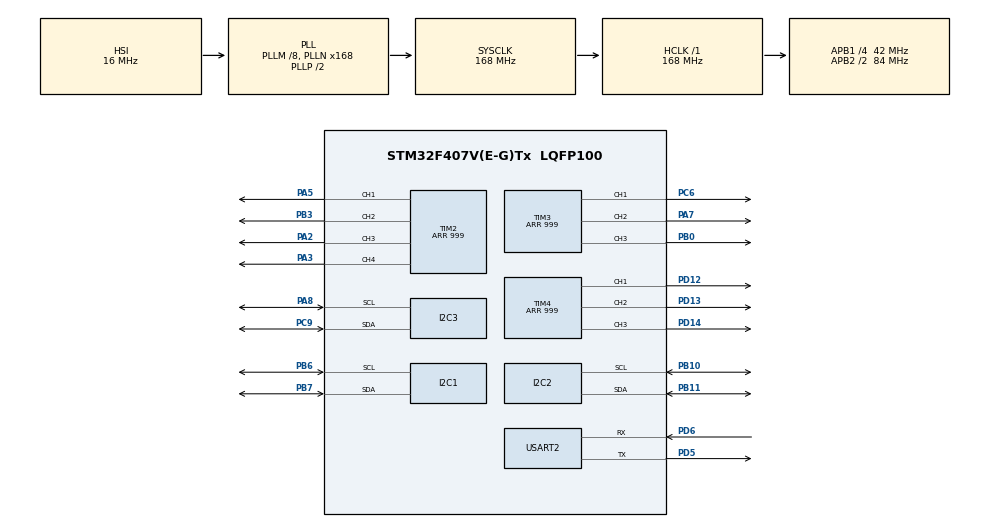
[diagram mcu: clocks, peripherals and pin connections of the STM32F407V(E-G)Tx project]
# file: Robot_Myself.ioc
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Dma.Request0=USART2_RX
Dma.USART2_RX.0.Direction=DMA_PERIPH_TO_MEMORY
Dma.USART2_RX.0.FIFOMode=DMA_FIFOMODE_DISABLE
Dma.USART2_RX.0.Instance=DMA1_Stream5
Dma.USART2_RX.0.MemDataAlignment=DMA_MDATAALIGN_BYTE
Dma.USART2_RX.0.MemInc=DMA_MINC_ENABLE
Dma.USART2_RX.0.Mode=DMA_CIRCULAR
Dma.USART2_RX.0.PeriphDataAlignment=DMA_PDATAALIGN_BYTE
Dma.USART2_RX.0.PeriphInc=DMA_PINC_DISABLE
Dma.USART2_RX.0.Priority=DMA_PRIORITY_LOW
FREERTOS.Queues01=Give_Data,16,uint16_t,0,Dynamic,NULL,NULL
FREERTOS.Tasks01=defaultTask,24,128,StartDefaultTask,Default,NULL,Dynamic,NULL,NULL;Read_Allead,8,256,StartTask02,Default,NULL,Dynamic,NULL,NULL;Balance,8,256,StartTask03,Default,NULL,Dynamic,NULL,NULL;Run_By_Cmd,8,512,StartTask04,Default,NULL,Dynamic,NULL,NULL
Mcu.Family=STM32F4
Mcu.Name=STM32F407V(E-G)Tx
Mcu.Package=LQFP100
NVIC.DMA1_Stream5_IRQn=true\:5\:0\:false\:false\:true\:true\:false\:true\:true
NVIC.PriorityGroup=NVIC_PRIORITYGROUP_4
NVIC.TIM1_UP_TIM10_IRQn=true\:15\:0\:false\:false\:true\:false\:false\:true\:true
NVIC.TimeBase=TIM1_UP_TIM10_IRQn
NVIC.TimeBaseIP=TIM1
PA13.Mode=Serial_Wire
PA13.Signal=SYS_JTMS-SWDIO
PA14.Mode=Serial_Wire
PA14.Signal=SYS_JTCK-SWCLK
PA2.Signal=S_TIM2_CH3
PA3.Signal=S_TIM2_CH4
PA5.Signal=S_TIM2_CH1_ETR
PA7.Signal=S_TIM3_CH2
PA8.Mode=I2C
PA8.Signal=I2C3_SCL
PB0.Signal=S_TIM3_CH3
PB10.Mode=I2C
PB10.Signal=I2C2_SCL
PB11.Mode=I2C
PB11.Signal=I2C2_SDA
PB3.Signal=S_TIM2_CH2
PB6.Mode=I2C
PB6.Signal=I2C1_SCL
PB7.Mode=I2C
PB7.Signal=I2C1_SDA
PC6.Signal=S_TIM3_CH1
PC9.Mode=I2C
PC9.Signal=I2C3_SDA
PD12.Signal=S_TIM4_CH1
PD13.Signal=S_TIM4_CH2
PD14.Signal=S_TIM4_CH3
PD5.Mode=Asynchronous
PD5.Signal=USART2_TX
PD6.Mode=Asynchronous
PD6.Signal=USART2_RX
PH0-OSC_IN.Mode=HSE-External-Oscillator
PH0-OSC_IN.Signal=RCC_OSC_IN
PH1-OSC_OUT.Mode=HSE-External-Oscillator
PH1-OSC_OUT.Signal=RCC_OSC_OUT
ProjectManager.HeapSize=0x200
ProjectManager.StackSize=0x400
ProjectManager.TargetToolchain=CMake
RCC.48MHZClocksFreq_Value=84000000
RCC.AHBFreq_Value=168000000
RCC.APB1CLKDivider=RCC_HCLK_DIV4
RCC.APB1Freq_Value=42000000
RCC.APB1TimFreq_Value=84000000
RCC.APB2CLKDivider=RCC_HCLK_DIV2
RCC.APB2Freq_Value=84000000
RCC.APB2TimFreq_Value=168000000
RCC.CortexFreq_Value=168000000
RCC.HCLKFreq_Value=168000000
RCC.HSE_VALUE=25000000
RCC.HSI_VALUE=16000000
RCC.LSE_VALUE=32768
RCC.PLLM=8
RCC.PLLN=168
RCC.SYSCLKFreq_VALUE=168000000
RCC.SYSCLKSource=RCC_SYSCLKSOURCE_PLLCLK
RCC.VCOOutputFreq_Value=336000000
SH.S_TIM2_CH1_ETR.0=TIM2_CH1,PWM Generation1 CH1
SH.S_TIM2_CH2.0=TIM2_CH2,PWM Generation2 CH2
SH.S_TIM2_CH3.0=TIM2_CH3,PWM Generation3 CH3
SH.S_TIM2_CH4.0=TIM2_CH4,PWM Generation4 CH4
SH.S_TIM3_CH1.0=TIM3_CH1,PWM Generation1 CH1
SH.S_TIM3_CH2.0=TIM3_CH2,PWM Generation2 CH2
SH.S_TIM3_CH3.0=TIM3_CH3,PWM Generation3 CH3
SH.S_TIM4_CH1.0=TIM4_CH1,PWM Generation1 CH1
SH.S_TIM4_CH2.0=TIM4_CH2,PWM Generation2 CH2
SH.S_TIM4_CH3.0=TIM4_CH3,PWM Generation3 CH3
TIM2.Channel-PWM\ Generation1\ CH1=TIM_CHANNEL_1
TIM2.Channel-PWM\ Generation2\ CH2=TIM_CHANNEL_2
TIM2.Channel-PWM\ Generation3\ CH3=TIM_CHANNEL_3
TIM2.Channel-PWM\ Generation4\ CH4=TIM_CHANNEL_4
TIM2.Period=999
TIM3.Channel-PWM\ Generation1\ CH1=TIM_CHANNEL_1
TIM3.Channel-PWM\ Generation2\ CH2=TIM_CHANNEL_2
TIM3.Channel-PWM\ Generation3\ CH3=TIM_CHANNEL_3
TIM3.Period=999
TIM4.Channel-PWM\ Generation1\ CH1=TIM_CHANNEL_1
TIM4.Channel-PWM\ Generation2\ CH2=TIM_CHANNEL_2
TIM4.Channel-PWM\ Generation3\ CH3=TIM_CHANNEL_3
TIM4.Period=999
USART2.VirtualMode=VM_ASYNC
VP_FREERTOS_VS_CMSIS_V2.Mode=CMSIS_V2
VP_SYS_VS_tim1.Mode=TIM1
VP_TIM2_VS_ClockSourceITR.Mode=TriggerSource_ITR0
VP_TIM3_VS_ClockSourceITR.Mode=TriggerSource_ITR0
VP_TIM4_VS_ClockSourceITR.Mode=TriggerSource_ITR0
board=custom

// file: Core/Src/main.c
/* USER CODE BEGIN Header */
/**
  ******************************************************************************
  * @file           : main.c
  * @brief          : Main program body
  ******************************************************************************
  * @attention
  *
  * Copyright (c) 2026 STMicroelectronics.
  * All rights reserved.
  *
  * This software is licensed under terms that can be found in the LICENSE file
  * in the root directory of this software component.
  * If no LICENSE file comes with this software, it is provided AS-IS.
  *
  ******************************************************************************
  */
/* USER CODE END Header */
#include "main.h"
#include "cmsis_os.h"
#include "dma.h"
#include "i2c.h"
#include "tim.h"
#include "usart.h"
#include "gpio.h"

/* USER CODE BEGIN Includes */

#include "brushless_motor.h"

/* USER CODE END Includes */

void SystemClock_Config(void);
void MX_FREERTOS_Init(void);

int main(void)
{

  /* MCU Configuration--------------------------------------------------------*/

  /* Reset of all peripherals, Initializes the Flash interface and the Systick. */
  HAL_Init();

  /* Configure the system clock */
  SystemClock_Config();

  /* Initialize all configured peripherals */
  MX_GPIO_Init();
  MX_DMA_Init();
  MX_I2C1_Init();
  MX_I2C2_Init();
  MX_I2C3_Init();
  MX_TIM3_Init();
  MX_TIM4_Init();
  MX_USART2_UART_Init();
  MX_TIM2_Init();
  /* USER CODE BEGIN 2 */

  BLDC_PrintI2CDeviceInfo();

  /* USER CODE END 2 */

  /* Init scheduler */
  osKernelInitialize();  /* Call init function for freertos objects (in cmsis_os2.c) */
  MX_FREERTOS_Init();

  /* Start scheduler */
  osKernelStart();

  /* We should never get here as control is now taken by the scheduler */

  /* Infinite loop */
  while (1)
  {

  }
}

void SystemClock_Config(void)
{
  RCC_OscInitTypeDef RCC_OscInitStruct = {0};
  RCC_ClkInitTypeDef RCC_ClkInitStruct = {0};

  /** Configure the main internal regulator output voltage
  */
  __HAL_RCC_PWR_CLK_ENABLE();
  __HAL_PWR_VOLTAGESCALING_CONFIG(PWR_REGULATOR_VOLTAGE_SCALE1);

  /** Initializes the RCC Oscillators according to the specified parameters
  * in the RCC_OscInitTypeDef structure.
  */
  RCC_OscInitStruct.OscillatorType = RCC_OSCILLATORTYPE_HSI;
  RCC_OscInitStruct.HSIState = RCC_HSI_ON;
  RCC_OscInitStruct.HSICalibrationValue = RCC_HSICALIBRATION_DEFAULT;
  RCC_OscInitStruct.PLL.PLLState = RCC_PLL_ON;
  RCC_OscInitStruct.PLL.PLLSource = RCC_PLLSOURCE_HSI;
  RCC_OscInitStruct.PLL.PLLM = 8;
  RCC_OscInitStruct.PLL.PLLN = 168;
  RCC_OscInitStruct.PLL.PLLP = RCC_PLLP_DIV2;
  RCC_OscInitStruct.PLL.PLLQ = 4;
  if (HAL_RCC_OscConfig(&RCC_OscInitStruct) != HAL_OK)
  {
    Error_Handler();
  }

  /** Initializes the CPU, AHB and APB buses clocks
  */
  RCC_ClkInitStruct.ClockType = RCC_CLOCKTYPE_HCLK|RCC_CLOCKTYPE_SYSCLK
                              |RCC_CLOCKTYPE_PCLK1|RCC_CLOCKTYPE_PCLK2;
  RCC_ClkInitStruct.SYSCLKSource = RCC_SYSCLKSOURCE_PLLCLK;
  RCC_ClkInitStruct.AHBCLKDivider = RCC_SYSCLK_DIV1;
  RCC_ClkInitStruct.APB1CLKDivider = RCC_HCLK_DIV4;
  RCC_ClkInitStruct.APB2CLKDivider = RCC_HCLK_DIV2;

  if (HAL_RCC_ClockConfig(&RCC_ClkInitStruct, FLASH_LATENCY_5) != HAL_OK)
  {
    Error_Handler();
  }
}

void HAL_TIM_PeriodElapsedCallback(TIM_HandleTypeDef *htim)
{
  if (htim->Instance == TIM1)
  {
    HAL_IncTick();
  }
}

void Error_Handler(void)
{
  __disable_irq();
  while (1)
  {
  }
}

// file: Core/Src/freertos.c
/* USER CODE BEGIN Header */
/**
  ******************************************************************************
  * File Name          : freertos.c
  * Description        : Code for freertos applications
  ******************************************************************************
  * @attention
  *
  * Copyright (c) 2026 STMicroelectronics.
  * All rights reserved.
  *
  * This software is licensed under terms that can be found in the LICENSE file
  * in the root directory of this software component.
  * If no LICENSE file comes with this software, it is provided AS-IS.
  *
  ******************************************************************************
  */
/* USER CODE END Header */

#include "FreeRTOS.h"
#include "task.h"
#include "main.h"
#include "cmsis_os.h"

/* USER CODE BEGIN Includes */

#include "brushless_motor.h"
#include "core.h"
#include "i2c.h"
#include "steering_engine.h"
#include "usart.h"

#include <stdbool.h>
#include <ctype.h>
#include <stdint.h>
#include <stdio.h>
#include <stdlib.h>
#include <string.h>

/* USER CODE END Includes */

/* USER CODE BEGIN PD */

#define BLDC_CMD_DEFAULT_RPS            (0.0f)
#define BLDC_CMD_MAX_ABS_RPS            (8.0f)
#define BLDC_CMD_SLEW_RPS_PER_SEC       (4.0f)
#define BLDC_CMD_INPUT_MIN_PERCENT      (0)
#define BLDC_CMD_INPUT_MAX_PERCENT      (100)

/* USER CODE END PD */

/* USER CODE BEGIN Variables */

static float g_speed_cmd_rps = BLDC_CMD_DEFAULT_RPS;
static int8_t g_motor_dir_sign = 1;
static uint8_t g_uart2_rx_dma_buf[64];
static uint8_t g_uart2_rx_dma_read_idx = 0U;
volatile char g_stack_overflow_task[16] = {0};

typedef enum
{
  CONTROL_MODE_BALANCE = 0,
  CONTROL_MODE_TEST = 1
} ControlMode;

static volatile ControlMode g_control_mode = CONTROL_MODE_BALANCE;

/* USER CODE END Variables */
/* Definitions for defaultTask */
osThreadId_t defaultTaskHandle;
const osThreadAttr_t defaultTask_attributes = {
  .name = "defaultTask",
  .stack_size = 128 * 4,
  .priority = (osPriority_t) osPriorityNormal,
};
/* Definitions for Read_Allead */
osThreadId_t Read_AlleadHandle;
const osThreadAttr_t Read_Allead_attributes = {
  .name = "Read_Allead",
  .stack_size = 768 * 4,
  .priority = (osPriority_t) osPriorityLow,
};
/* Definitions for Balance */
osThreadId_t BalanceHandle;
const osThreadAttr_t Balance_attributes = {
  .name = "Balance",
  .stack_size = 384 * 4,
  .priority = (osPriority_t) osPriorityLow,
};
/* Definitions for Run_By_Cmd */
osThreadId_t Run_By_CmdHandle;
const osThreadAttr_t Run_By_Cmd_attributes = {
  .name = "Run_By_Cmd",
  .stack_size = 512 * 4,
  .priority = (osPriority_t) osPriorityLow,
};
/* Definitions for Give_Data */
osMessageQueueId_t Give_DataHandle;
const osMessageQueueAttr_t Give_Data_attributes = {
  .name = "Give_Data"
};
/* Definitions for Steering_Cmd */
osMessageQueueId_t Steering_CmdHandle;
const osMessageQueueAttr_t Steering_Cmd_attributes = {
  .name = "Steering_Cmd"
};

/* USER CODE BEGIN FunctionPrototypes */

static bool ParsePercentCommand(const char *line, int *percent_value);
static bool ParseDirectionCommand(const char *line, int8_t *dir_sign);
static bool ParseDirectionSpeedCommand(const char *line, int8_t *dir_sign, int *percent_value);
static bool ParseSteeringCommand(const char *line, int *percent_value);
static bool ParsePitchOffsetCommand(const char *line, float *offset_rad);
static bool ParsePidCommand(const char *line, float *kp, float *ki, float *kd);
static bool ParsePitchQueryCommand(const char *line);
static bool ParseControlModeCommand(const char *line, ControlMode *mode);
static void ProcessUartCommandByte(uint8_t ch);
static bool PollUartSpeedCommandDma(void);

/* USER CODE END FunctionPrototypes */

void StartDefaultTask(void *argument);
void StartTask02(void *argument);
void StartTask03(void *argument);
void StartTask04(void *argument);

void MX_FREERTOS_Init(void); /* (MISRA C 2004 rule 8.1) */

void MX_FREERTOS_Init(void) {

  /* Create the queue(s) */
  /* creation of Give_Data */
  Give_DataHandle = osMessageQueueNew (16, sizeof(uint16_t), &Give_Data_attributes);

  /* creation of Steering_Cmd */
  Steering_CmdHandle = osMessageQueueNew (16, sizeof(uint8_t), &Steering_Cmd_attributes);

  /* Create the thread(s) */
  /* creation of defaultTask */
  defaultTaskHandle = osThreadNew(StartDefaultTask, NULL, &defaultTask_attributes);

  /* creation of Read_Allead */
  Read_AlleadHandle = osThreadNew(StartTask02, NULL, &Read_Allead_attributes);

  /* creation of Balance */
  BalanceHandle = osThreadNew(StartTask03, NULL, &Balance_attributes);

  /* creation of Run_By_Cmd */
  Run_By_CmdHandle = osThreadNew(StartTask04, NULL, &Run_By_Cmd_attributes);

}

void StartDefaultTask(void *argument)
{
  /* USER CODE BEGIN StartDefaultTask */
  (void)argument;

  /* Infinite loop */
  for(;;)
  {
    osDelay(1);
  }
  /* USER CODE END StartDefaultTask */
}

void StartTask02(void *argument)
{
  /* USER CODE BEGIN StartTask02 */
  uint16_t speed_cmd_raw = 0U;
  uint32_t print_div = 0U;
  uint32_t i2c1_ok = 0U;
  uint32_t i2c2_ok = 0U;
  uint32_t i2c3_ok = 0U;

  (void)argument;

  g_uart2_rx_dma_read_idx = 0U;
  if (HAL_UART_Receive_DMA(&huart2, g_uart2_rx_dma_buf, sizeof(g_uart2_rx_dma_buf)) != HAL_OK)
  {
    printf("[CMD] UART DMA start failed\r\n");
  }

  printf("[TASK02] UART+I2C loop online\r\n");
  printf("[CMD] send 0~100 to set motor1 speed percent\r\n");
  printf("[CMD] send fwd/rev or fwd 50/rev 50 to switch direction\r\n");
  printf("[CMD] send steering 0~100 to set 4-servo mirrored output\r\n");
  printf("[CMD] send PZ <rad> to set pitch zero\r\n");
  printf("[CMD] send PID <kp> <ki> <kd> to tune balance PID\r\n");
  printf("[CMD] send PID? to query current PID, pitch offset and pitch\r\n");
  printf("[CMD] send BAL or TEST to switch control mode\r\n");

  i2c1_ok = (HAL_I2C_IsDeviceReady(&hi2c1, (0x36U << 1), 2U, 10U) == HAL_OK) ? 1U : 0U;
  i2c2_ok = (HAL_I2C_IsDeviceReady(&hi2c2, (0x36U << 1), 2U, 10U) == HAL_OK) ? 1U : 0U;
  i2c3_ok = ((HAL_I2C_IsDeviceReady(&hi2c3, (0x68U << 1), 2U, 10U) == HAL_OK) ||
             (HAL_I2C_IsDeviceReady(&hi2c3, (0x69U << 1), 2U, 10U) == HAL_OK)) ? 1U : 0U;
  printf("[I2C] link i2c1=%lu i2c2=%lu i2c3=%lu\r\n",
         (unsigned long)i2c1_ok,
         (unsigned long)i2c2_ok,
         (unsigned long)i2c3_ok);

  Core_ControlInit();

  /* Infinite loop */
  for(;;)
  {
    (void)PollUartSpeedCommandDma();

    if (osMessageQueueGet(Give_DataHandle, &speed_cmd_raw, NULL, 0U) == osOK)
    {
      float cmd_rps = ((float)(int16_t)speed_cmd_raw) / 100.0f;

      if (cmd_rps > BLDC_CMD_MAX_ABS_RPS)
      {
        cmd_rps = BLDC_CMD_MAX_ABS_RPS;
      }
      else if (cmd_rps < -BLDC_CMD_MAX_ABS_RPS)
      {
        cmd_rps = -BLDC_CMD_MAX_ABS_RPS;
      }

      g_speed_cmd_rps = cmd_rps * (float)g_motor_dir_sign;
    }

    /* task02: all I2C-related reads/control execution. */
    Core_ImuUpdate1ms();

    if (g_control_mode == CONTROL_MODE_TEST)
    {
      BLDC_SetTargetSpeedRps(g_speed_cmd_rps);
      BLDC_SetTargetSpeed2Rps(g_speed_cmd_rps);
    }

    BLDC_ControlStep_1ms();

    if (++print_div >= 20U)
    {
      int32_t target_mrps;
      int32_t target_m1_mrps;
      int32_t speed_m1_mrps;
      int32_t speed_m2_mrps;
      int32_t vq_milli;
      uint32_t raw_ok;
      uint16_t raw_m1;
      uint32_t assist_on;
      int32_t pitch_cdeg;
      const char *mode_text;

      print_div = 0U;
      target_mrps = (int32_t)(g_speed_cmd_rps * 1000.0f);
      target_m1_mrps = (int32_t)(BLDC_GetTargetSpeedRps() * 1000.0f);
      speed_m1_mrps = (int32_t)(BLDC_GetMeasuredSpeedRps() * 1000.0f);
      speed_m2_mrps = (int32_t)(BLDC_GetMeasuredSpeed2Rps() * 1000.0f);
      vq_milli = (int32_t)(BLDC_GetM1AppliedVq() * 1000.0f);
      raw_ok = BLDC_GetLastRawAngleM1Valid() ? 1U : 0U;
      raw_m1 = BLDC_GetLastRawAngleM1();
      assist_on = BLDC_IsM1AssistModeActive() ? 1U : 0U;
      pitch_cdeg = (int32_t)(Core_GetPitchDeg() * 100.0f);
      mode_text = (g_control_mode == CONTROL_MODE_BALANCE) ? "BAL" : "TEST";

      printf("[RUN] m=%s cmd=%ld t1=%ld s1=%ld s2=%ld raw_ok=%lu raw=%u as=%lu vq=%ld p=%ld.%02ld\r\n",
         mode_text,
         (long)target_mrps,
         (long)target_m1_mrps,
         (long)speed_m1_mrps,
         (long)speed_m2_mrps,
         (unsigned long)raw_ok,
         (unsigned int)raw_m1,
         (unsigned long)assist_on,
         (long)vq_milli,
         (long)(pitch_cdeg / 100),
         (long)labs((long)(pitch_cdeg % 100)));
    }

    osDelay(1);
  }
  /* USER CODE END StartTask02 */
}

void StartTask03(void *argument)
{
  /* USER CODE BEGIN StartTask03 */
  (void)argument;

  printf("[TASK03] Balance logic loop online\r\n");

  /* Infinite loop */
  for(;;)
  {
    if (g_control_mode == CONTROL_MODE_BALANCE)
    {
      Core_BalanceStep1ms();
    }
    osDelay(1);
  }
  /* USER CODE END StartTask03 */
}

void StartTask04(void *argument)
{
  /* USER CODE BEGIN StartTask04 */
  uint8_t steering_percent = 50U;

  (void)argument;

  SteeringEngine_Init();
  printf("[TASK04] Steering loop online\r\n");

  /* Infinite loop */
  for(;;)
  {
    if (osMessageQueueGet(Steering_CmdHandle, &steering_percent, NULL, 10U) == osOK)
    {
      if (SteeringEngine_SetSteeringPercent(steering_percent))
      {
        printf("[CMD] ACK steering percent=%u\r\n", (unsigned int)steering_percent);
      }
      else
      {
        printf("[CMD] ACK steering set failed percent=%u\r\n", (unsigned int)steering_percent);
      }
    }
  }
  /* USER CODE END StartTask04 */
}

/* USER CODE BEGIN Application */

static bool ParsePercentCommand(const char *line, int *percent_value)
{
  char *end_ptr = NULL;
  long parsed;

  if ((line == NULL) || (percent_value == NULL))
  {
    return false;
  }

  parsed = strtol(line, &end_ptr, 10);
  if ((end_ptr == line) || (*end_ptr != '\0'))
  {
    return false;
  }
  if ((parsed < BLDC_CMD_INPUT_MIN_PERCENT) || (parsed > BLDC_CMD_INPUT_MAX_PERCENT))
  {
    return false;
  }

  *percent_value = (int)parsed;
  return true;
}

static bool ParseDirectionCommand(const char *line, int8_t *dir_sign)
{
  char lower_line[16] = {0};
  uint32_t i;

  if ((line == NULL) || (dir_sign == NULL))
  {
    return false;
  }

  for (i = 0U; (i < (sizeof(lower_line) - 1U)) && (line[i] != '\0'); i++)
  {
    lower_line[i] = (char)tolower((unsigned char)line[i]);
  }
  lower_line[i] = '\0';

  if (strcmp(lower_line, "fwd") == 0)
  {
    *dir_sign = 1;
    return true;
  }
  if (strcmp(lower_line, "rev") == 0)
  {
    *dir_sign = -1;
    return true;
  }
  return false;
}

static bool ParseDirectionSpeedCommand(const char *line, int8_t *dir_sign, int *percent_value)
{
  char lower_line[16] = {0};
  char dir_token[8] = {0};
  int percent = 0;
  int matched;
  uint32_t i;

  if ((line == NULL) || (dir_sign == NULL) || (percent_value == NULL))
  {
    return false;
  }

  for (i = 0U; (i < (sizeof(lower_line) - 1U)) && (line[i] != '\0'); i++)
  {
    lower_line[i] = (char)tolower((unsigned char)line[i]);
  }
  lower_line[i] = '\0';

  matched = sscanf(lower_line, "%7s %d", dir_token, &percent);
  if (matched != 2)
  {
    return false;
  }

  if (strcmp(dir_token, "fwd") == 0)
  {
    *dir_sign = 1;
  }
  else if (strcmp(dir_token, "rev") == 0)
  {
    *dir_sign = -1;
  }
  else
  {
    return false;
  }

  if ((percent < BLDC_CMD_INPUT_MIN_PERCENT) || (percent > BLDC_CMD_INPUT_MAX_PERCENT))
  {
    return false;
  }

  *percent_value = percent;
  return true;
}

static bool ParseSteeringCommand(const char *line, int *percent_value)
{
  char cmd[9] = {0};
  int percent = 0;
  int matched;

  if ((line == NULL) || (percent_value == NULL))
  {
    return false;
  }

  matched = sscanf(line, "%8s %d", cmd, &percent);
  if (matched != 2)
  {
    return false;
  }

  for (uint32_t i = 0U; (i < (sizeof(cmd) - 1U)) && (cmd[i] != '\0'); i++)
  {
    cmd[i] = (char)tolower((unsigned char)cmd[i]);
  }

  if (strcmp(cmd, "steering") != 0)
  {
    return false;
  }

  if ((percent < BLDC_CMD_INPUT_MIN_PERCENT) || (percent > BLDC_CMD_INPUT_MAX_PERCENT))
  {
    return false;
  }

  *percent_value = percent;

  return true;
}

static bool ParsePitchOffsetCommand(const char *line, float *offset_rad)
{
  char cmd[4] = {0};
  float value = 0.0f;
  int matched;

  if ((line == NULL) || (offset_rad == NULL))
  {
    return false;
  }

  matched = sscanf(line, "%3s %f", cmd, &value);
  if (matched != 2)
  {
    return false;
  }

  for (uint32_t i = 0U; i < sizeof(cmd) && cmd[i] != '\0'; i++)
  {
    cmd[i] = (char)toupper((unsigned char)cmd[i]);
  }

  if (strcmp(cmd, "PZ") != 0)
  {
    return false;
  }

  *offset_rad = value;
  return true;
}

static bool ParsePidCommand(const char *line, float *kp, float *ki, float *kd)
{
  char cmd[4] = {0};
  float p = 0.0f;
  float i = 0.0f;
  float d = 0.0f;
  int matched;

  if ((line == NULL) || (kp == NULL) || (ki == NULL) || (kd == NULL))
  {
    return false;
  }

  matched = sscanf(line, "%3s %f %f %f", cmd, &p, &i, &d);
  if (matched != 4)
  {
    return false;
  }

  for (uint32_t idx = 0U; idx < sizeof(cmd) && cmd[idx] != '\0'; idx++)
  {
    cmd[idx] = (char)toupper((unsigned char)cmd[idx]);
  }

  if (strcmp(cmd, "PID") != 0)
  {
    return false;
  }

  *kp = p;
  *ki = i;
  *kd = d;
  return true;
}

static bool ParsePitchQueryCommand(const char *line)
{
  char cmd[8] = {0};

  if (line == NULL)
  {
    return false;
  }

  if (sscanf(line, "%3s", cmd) != 1)
  {
    return false;
  }

  for (uint32_t i = 0U; i < sizeof(cmd) && cmd[i] != '\0'; i++)
  {
    cmd[i] = (char)toupper((unsigned char)cmd[i]);
  }

  return (strcmp(cmd, "P?") == 0) ||
         (strcmp(cmd, "PSTAT") == 0) ||
         (strcmp(cmd, "PID?") == 0) ||
         (strcmp(cmd, "PIDSTAT") == 0);
}

static bool ParseControlModeCommand(const char *line, ControlMode *mode)
{
  char cmd[8] = {0};

  if ((line == NULL) || (mode == NULL))
  {
    return false;
  }

  if (sscanf(line, "%7s", cmd) != 1)
  {
    return false;
  }

  for (uint32_t i = 0U; i < sizeof(cmd) && cmd[i] != '\0'; i++)
  {
    cmd[i] = (char)toupper((unsigned char)cmd[i]);
  }

  if ((strcmp(cmd, "BAL") == 0) || (strcmp(cmd, "BALANCE") == 0))
  {
    *mode = CONTROL_MODE_BALANCE;
    return true;
  }

  if ((strcmp(cmd, "TEST") == 0) || (strcmp(cmd, "MOTOR") == 0))
  {
    *mode = CONTROL_MODE_TEST;
    return true;
  }

  return false;
}

static void ProcessUartCommandByte(uint8_t ch)
{
  static char rx_line[16] = {0};
  static uint32_t rx_len = 0U;

  if ((ch == '\r') || (ch == '\n'))
  {
    if (rx_len > 0U)
    {
      int percent = 0;
      int8_t dir_sign = g_motor_dir_sign;
      float offset_rad = 0.0f;
      float kp = 0.0f;
      float ki = 0.0f;
      float kd = 0.0f;
      ControlMode mode = g_control_mode;

      rx_line[rx_len] = '\0';
      if (ParsePitchOffsetCommand(rx_line, &offset_rad))
      {
        Core_SetPitchOffsetRad(offset_rad);
        printf("[CORE] ACK pitch_offset_rad=%.4f pitch_deg=%.2f\r\n",
               (double)Core_GetPitchOffsetRad(),
               (double)Core_GetPitchDeg());
        rx_len = 0U;
        return;
      }

      if (ParsePidCommand(rx_line, &kp, &ki, &kd))
      {
        Core_SetBalancePid(kp, ki, kd);
        printf("[CORE] ACK pid kp=%.4f ki=%.4f kd=%.4f\r\n", (double)kp, (double)ki, (double)kd);
        rx_len = 0U;
        return;
      }

      if (ParsePitchQueryCommand(rx_line))
      {
        Core_GetBalancePid(&kp, &ki, &kd);
         printf("[CORE] pitch_deg=%.2f pitch_offset_rad=%.4f pid_kp=%.4f pid_ki=%.4f pid_kd=%.4f\r\n",
           (double)Core_GetPitchDeg(),
           (double)Core_GetPitchOffsetRad(),
           (double)kp,
           (double)ki,
           (double)kd);
        rx_len = 0U;
        return;
      }

      if (ParseControlModeCommand(rx_line, &mode))
      {
        g_control_mode = mode;
        g_speed_cmd_rps = 0.0f;
        BLDC_SetTargetSpeedRps(0.0f);
        BLDC_SetTargetSpeed2Rps(0.0f);
        Core_ResetBalanceIntegrator();
        printf("[CMD] ACK mode=%s\r\n", (mode == CONTROL_MODE_BALANCE) ? "BAL" : "TEST");
        rx_len = 0U;
        return;
      }

      if (ParseSteeringCommand(rx_line, &percent))
      {
        uint8_t steering_percent = (uint8_t)percent;
        osStatus_t queue_status = osMessageQueuePut(Steering_CmdHandle, &steering_percent, 0U, 0U);

        if (queue_status == osOK)
        {
          printf("[CMD] ACK steering queued percent=%d\r\n", percent);
        }
        else
        {
          printf("[CMD] ACK steering queue failed percent=%d queue=%d\r\n", percent, (int)queue_status);
        }

        rx_len = 0U;
        return;
      }

      if (ParseDirectionSpeedCommand(rx_line, &dir_sign, &percent))
      {
        float cmd_rps = ((float)percent / 100.0f) * BLDC_CMD_MAX_ABS_RPS;
        uint16_t speed_cmd_raw = (uint16_t)((int16_t)(cmd_rps * 100.0f));
        osStatus_t queue_status;

        if (g_control_mode != CONTROL_MODE_TEST)
        {
          printf("[CMD] ACK speed ignored in BAL mode, send TEST first\r\n");
          rx_len = 0U;
          return;
        }

        g_motor_dir_sign = dir_sign;
        queue_status = osMessageQueuePut(Give_DataHandle, &speed_cmd_raw, 0U, 0U);
        if (queue_status == osOK)
        {
          printf("[CMD] ACK ok percent=%d target=%.2f rps direction=%s\r\n",
                 percent,
                 cmd_rps * (float)g_motor_dir_sign,
                 (g_motor_dir_sign > 0) ? "fwd" : "rev");
        }
        else
        {
          printf("[CMD] ACK fail percent=%d target=%.2f rps queue=%d\r\n",
                 percent,
                 cmd_rps * (float)g_motor_dir_sign,
                 (int)queue_status);
        }

        rx_len = 0U;
        return;
      }

      if (ParseDirectionCommand(rx_line, &g_motor_dir_sign))
      {
        printf("[CMD] ACK direction=%s\r\n", (g_motor_dir_sign > 0) ? "fwd" : "rev");
        rx_len = 0U;
        return;
      }

      if (ParsePercentCommand(rx_line, &percent))
      {
        float cmd_rps = ((float)percent / 100.0f) * BLDC_CMD_MAX_ABS_RPS;
        uint16_t speed_cmd_raw = (uint16_t)((int16_t)(cmd_rps * 100.0f));
        osStatus_t queue_status;

        if (g_control_mode != CONTROL_MODE_TEST)
        {
          printf("[CMD] ACK speed ignored in BAL mode, send TEST first\r\n");
          rx_len = 0U;
          return;
        }

        queue_status = osMessageQueuePut(Give_DataHandle, &speed_cmd_raw, 0U, 0U);
        if (queue_status == osOK)
        {
          printf("[CMD] ACK ok percent=%d target=%.2f rps direction=%s\r\n",
                 percent,
                 cmd_rps * (float)g_motor_dir_sign,
                 (g_motor_dir_sign > 0) ? "fwd" : "rev");
        }
        else
        {
          printf("[CMD] ACK fail percent=%d target=%.2f rps queue=%d\r\n",
                 percent,
                 cmd_rps,
                 (int)queue_status);
        }
      }
      else
      {
        printf("[CMD] ACK reject input=%s (expect BAL/TEST | steering <0~100> | PZ <rad> | PID <kp> <ki> <kd> | PID? | 0~100 | fwd/rev | fwd 50/rev 50)\r\n", rx_line);
      }

      rx_len = 0U;
    }
    return;
  }

  if (rx_len < (sizeof(rx_line) - 1U))
  {
    if ((ch >= 0x20U) && (ch <= 0x7EU))
    {
      rx_line[rx_len++] = (char)ch;
    }
  }
  else
  {
    rx_len = 0U;
    printf("[CMD] ACK reject input too long\r\n");
  }
}

static bool PollUartSpeedCommandDma(void)
{
  uint8_t dma_write_idx;
  bool got_data = false;

  dma_write_idx = (uint8_t)(sizeof(g_uart2_rx_dma_buf) - __HAL_DMA_GET_COUNTER(huart2.hdmarx));
  while (g_uart2_rx_dma_read_idx != dma_write_idx)
  {
    got_data = true;
    ProcessUartCommandByte(g_uart2_rx_dma_buf[g_uart2_rx_dma_read_idx]);
    g_uart2_rx_dma_read_idx++;
    if (g_uart2_rx_dma_read_idx >= sizeof(g_uart2_rx_dma_buf))
    {
      g_uart2_rx_dma_read_idx = 0U;
    }
  }

  return got_data;
}

void vApplicationStackOverflowHook(TaskHandle_t xTask, char *pcTaskName)
{
  uint32_t i = 0U;

  (void)xTask;
  if (pcTaskName != NULL)
  {
    for (i = 0U; i < (sizeof(g_stack_overflow_task) - 1U) && pcTaskName[i] != '\0'; i++)
    {
      g_stack_overflow_task[i] = pcTaskName[i];
    }
    g_stack_overflow_task[i] = '\0';
  }
  __disable_irq();
  for(;;)
  {
  }
}

/* USER CODE END Application */
